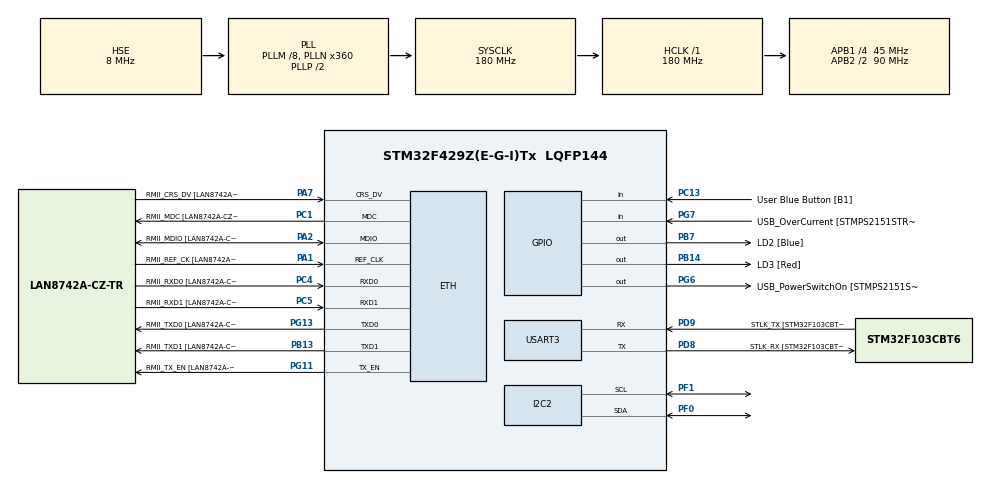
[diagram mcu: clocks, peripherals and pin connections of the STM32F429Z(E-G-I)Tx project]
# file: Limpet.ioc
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ETH.MediaInterface=ETH_MEDIA_INTERFACE_RMII
ETH.PhyAddress=0
FREERTOS.HEAP_NUMBER=3
FREERTOS.Tasks01=defaultTask,0,16384,StartDefaultTask,Default
FREERTOS.configTOTAL_HEAP_SIZE=4096
I2C2.I2C_Mode=I2C_Fast
LWIP.DEFAULT_ACCEPTMBOX_SIZE=8
LWIP.DEFAULT_RAW_RECVMBOX_SIZE=8
LWIP.DEFAULT_TCP_RECVMBOX_SIZE=8
LWIP.DEFAULT_THREAD_STACKSIZE=512
LWIP.DEFAULT_UDP_RECVMBOX_SIZE=8
LWIP.LWIP_COMPAT_SOCKETS=0
LWIP.LWIP_DNS=1
LWIP.LWIP_IGMP=1
LWIP.LWIP_POSIX_SOCKETS_IO_NAMES=0
LWIP.LWIP_RAW=0
LWIP.LWIP_SO_RCVTIMEO=1
LWIP.LWIP_TCP_KEEPALIVE=1
LWIP.MEMP_NUM_PBUF=8
LWIP.MEMP_NUM_SYS_TIMEOUT=16
LWIP.MEMP_NUM_TCP_PCB_LISTEN=4
LWIP.PBUF_POOL_SIZE=5
LWIP.SYS_LIGHTWEIGHT_PROT=1
LWIP.TCPIP_MBOX_SIZE=8
LWIP.TCP_OVERSIZE=0
LWIP.TCP_QUEUE_OOSEQ=0
Mcu.Family=STM32F4
Mcu.Name=STM32F429Z(E-G-I)Tx
Mcu.Package=LQFP144
NVIC.ETH_IRQn=true\:5\:0\:false
NVIC.PriorityGroup=NVIC_PRIORITYGROUP_4
NVIC.TIM1_UP_TIM10_IRQn=true\:0\:0\:false
NVIC.TimeBase=TIM1_UP_TIM10_IRQn
NVIC.TimeBaseIP=TIM1
PA1.GPIO_Label=RMII_REF_CK [LAN8742A-CZ-TR_REFCLK0]
PA1.Mode=RMII
PA1.Signal=ETH_REF_CLK
PA10.GPIO_Label=USB_ID
PA10.Signal=USB_OTG_FS_ID
PA11.GPIO_Label=USB_DM
PA11.Signal=USB_OTG_FS_DM
PA12.GPIO_Label=USB_DP
PA12.Signal=USB_OTG_FS_DP
PA13.GPIO_Label=TMS
PA13.Mode=Serial-Wire
PA13.Signal=SYS_JTMS-SWDIO
PA14.GPIO_Label=TCK
PA14.Mode=Serial-Wire
PA14.Signal=SYS_JTCK-SWCLK
PA2.GPIO_Label=RMII_MDIO [LAN8742A-CZ-TR_MDIO]
PA2.Mode=RMII
PA2.Signal=ETH_MDIO
PA7.GPIO_Label=RMII_CRS_DV [LAN8742A-CZ-TR_CRS_DV]
PA7.Mode=RMII
PA7.Signal=ETH_CRS_DV
PA8.GPIO_Label=USB_SOF [TP1]
PA8.Signal=USB_OTG_FS_SOF
PA9.GPIO_Label=USB_VBUS
PA9.Signal=USB_OTG_FS_VBUS
PB13.GPIO_Label=RMII_TXD1 [LAN8742A-CZ-TR_TXD1]
PB13.Mode=RMII
PB13.Signal=ETH_TXD1
PB14.GPIO_Label=LD3 [Red]
PB14.Signal=GPIO_Output
PB7.GPIO_Label=LD2 [Blue]
PB7.Signal=GPIO_Output
PC1.GPIO_Label=RMII_MDC [LAN8742A-CZ-TR_MDC]
PC1.Mode=RMII
PC1.Signal=ETH_MDC
PC13.GPIO_Label=User Blue Button [B1]
PC13.Signal=GPIO_Input
PC14/OSC32_IN.Mode=LSE-External-Oscillator
PC14/OSC32_IN.Signal=RCC_OSC32_IN
PC15/OSC32_OUT.Mode=LSE-External-Oscillator
PC15/OSC32_OUT.Signal=RCC_OSC32_OUT
PC4.GPIO_Label=RMII_RXD0 [LAN8742A-CZ-TR_RXD0]
PC4.Mode=RMII
PC4.Signal=ETH_RXD0
PC5.GPIO_Label=RMII_RXD1 [LAN8742A-CZ-TR_RXD1]
PC5.Mode=RMII
PC5.Signal=ETH_RXD1
PD8.GPIO_Label=STLK_RX [STM32F103CBT6_PA3]
PD8.Mode=Asynchronous
PD8.Signal=USART3_TX
PD9.GPIO_Label=STLK_TX [STM32F103CBT6_PA2]
PD9.Mode=Asynchronous
PD9.Signal=USART3_RX
PF0.Mode=I2C
PF0.Signal=I2C2_SDA
PF1.Mode=I2C
PF1.Signal=I2C2_SCL
PG11.GPIO_Label=RMII_TX_EN [LAN8742A-CZ-TR_TXEN]
PG11.Mode=RMII
PG11.Signal=ETH_TX_EN
PG13.GPIO_Label=RMII_TXD0 [LAN8742A-CZ-TR_TXD0]
PG13.Mode=RMII
PG13.Signal=ETH_TXD0
PG6.GPIO_Label=USB_PowerSwitchOn [STMPS2151STR_EN]
PG6.Signal=GPIO_Output
PG7.GPIO_Label=USB_OverCurrent [STMPS2151STR_FAULT]
PG7.Signal=GPIO_Input
PH0/OSC_IN.GPIO_Label=MCO [STM32F103CBT6_PA8]
PH0/OSC_IN.Mode=HSE-External-Clock-Source
PH0/OSC_IN.Signal=RCC_OSC_IN
PH1/OSC_OUT.Mode=HSE-External-Clock-Source
PH1/OSC_OUT.Signal=RCC_OSC_OUT
ProjectManager.HeapSize=0x28000
ProjectManager.StackSize=0x200
ProjectManager.TargetToolchain=TrueSTUDIO
RCC.48MHZClocksFreq_Value=45000000
RCC.AHBFreq_Value=180000000
RCC.APB1CLKDivider=RCC_HCLK_DIV4
RCC.APB1Freq_Value=45000000
RCC.APB1TimFreq_Value=90000000
RCC.APB2CLKDivider=RCC_HCLK_DIV2
RCC.APB2Freq_Value=90000000
RCC.APB2TimFreq_Value=180000000
RCC.CortexFreq_Value=180000000
RCC.HCLKFreq_Value=180000000
RCC.HSE_VALUE=8000000
RCC.HSI_VALUE=8000000
RCC.PLLM=8
RCC.PLLMUL=RCC_PLL_MUL9
RCC.PLLN=360
RCC.PLLQ=8
RCC.PLLSourceVirtual=RCC_PLLSOURCE_HSE
RCC.PRESCALERUSB=RCC_USBPLLCLK_DIV1_5
RCC.RCC_RTC_Clock_Source=RCC_RTCCLKSOURCE_LSE
RCC.RCC_RTC_Clock_SourceVirtual=RCC_RTCCLKSOURCE_LSE
RCC.SYSCLKFreq_VALUE=180000000
RCC.SYSCLKSource=RCC_SYSCLKSOURCE_PLLCLK
RCC.SYSCLKSourceVirtual=RCC_SYSCLKSOURCE_PLLCLK
RCC.USBFreq_Value=48000000
RCC.VCOOutputFreq_Value=360000000
RTC.Format=FORMAT_BIN
VP_FREERTOS_VS_ENABLE.Mode=Enabled
VP_LWIP_VS_Enabled.Mode=Enabled
VP_RNG_VS_RNG.Mode=RNG_Activate
VP_RTC_VS_RTC_Alarm_A_Intern.Mode=Alarm A
VP_SYS_VS_tim1.Mode=TIM1
board=NUCLEO-F429ZI

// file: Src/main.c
/**
  ******************************************************************************
  * File Name          : main.c
  * Description        : Main program body
  ******************************************************************************
  *
  * COPYRIGHT(c) 2016 STMicroelectronics
  *
  * Redistribution and use in source and binary forms, with or without modification,
  * are permitted provided that the following conditions are met:
  *   1. Redistributions of source code must retain the above copyright notice,
  *      this list of conditions and the following disclaimer.
  *   2. Redistributions in binary form must reproduce the above copyright notice,
  *      this list of conditions and the following disclaimer in the documentation
  *      and/or other materials provided with the distribution.
  *   3. Neither the name of STMicroelectronics nor the names of its contributors
  *      may be used to endorse or promote products derived from this software
  *      without specific prior written permission.
  *
  * THIS SOFTWARE IS PROVIDED BY THE COPYRIGHT HOLDERS AND CONTRIBUTORS "AS IS"
  * AND ANY EXPRESS OR IMPLIED WARRANTIES, INCLUDING, BUT NOT LIMITED TO, THE
  * IMPLIED WARRANTIES OF MERCHANTABILITY AND FITNESS FOR A PARTICULAR PURPOSE ARE
  * DISCLAIMED. IN NO EVENT SHALL THE COPYRIGHT HOLDER OR CONTRIBUTORS BE LIABLE
  * FOR ANY DIRECT, INDIRECT, INCIDENTAL, SPECIAL, EXEMPLARY, OR CONSEQUENTIAL
  * DAMAGES (INCLUDING, BUT NOT LIMITED TO, PROCUREMENT OF SUBSTITUTE GOODS OR
  * SERVICES; LOSS OF USE, DATA, OR PROFITS; OR BUSINESS INTERRUPTION) HOWEVER
  * CAUSED AND ON ANY THEORY OF LIABILITY, WHETHER IN CONTRACT, STRICT LIABILITY,
  * OR TORT (INCLUDING NEGLIGENCE OR OTHERWISE) ARISING IN ANY WAY OUT OF THE USE
  * OF THIS SOFTWARE, EVEN IF ADVISED OF THE POSSIBILITY OF SUCH DAMAGE.
  *
  ******************************************************************************
  */
#include "stm32f4xx_hal.h"
#include "cmsis_os.h"
#include "lwip.h"

/* USER CODE BEGIN Includes */
#include "TisTpmDrv.h"
#include <sys/time.h>
#include <time.h>
#include "iothub_client_sample_http.h"
/* USER CODE END Includes */

I2C_HandleTypeDef hi2c2;

RNG_HandleTypeDef hrng;

RTC_HandleTypeDef hrtc;

UART_HandleTypeDef huart3;

osThreadId defaultTaskHandle;

/* USER CODE BEGIN PV */
/* Private variables ---------------------------------------------------------*/
extern struct netif *netif_default;
extern uint32_t g_UsingLocality;
//char tzName[] = "PST";
//char dstName[] = "PDT";
char tzName[] = "CST";
char dstName[] = "CST";

/* USER CODE END PV */

void SystemClock_Config(void);
static void MX_GPIO_Init(void);
static void MX_I2C2_Init(void);
static void MX_RNG_Init(void);
static void MX_USART3_UART_Init(void);
static void MX_RTC_Init(void);
void StartDefaultTask(void const * argument);

/* USER CODE BEGIN PFP */
/* Private function prototypes -----------------------------------------------*/
int _settimeofday(struct timeval *tv, struct timezone *tz);

/* USER CODE END PFP */

/* USER CODE BEGIN 0 */
void printIP()
{
    printf("IF[%c%c]: %u.%u.%u.%u/%u.%u.%u.%u, GW:%u.%u.%u.%u\r\n",
            netif_default->name[0],
            netif_default->name[1],
            (uint8_t)(netif_default->ip_addr.addr & 0x000000FF),
            (uint8_t)((netif_default->ip_addr.addr & 0x0000FF00) >> 8),
            (uint8_t)((netif_default->ip_addr.addr & 0x00FF0000) >> 16),
            (uint8_t)((netif_default->ip_addr.addr & 0xFF000000) >> 24),
            (uint8_t)(netif_default->netmask.addr & 0x000000FF),
            (uint8_t)((netif_default->netmask.addr & 0x0000FF00) >> 8),
            (uint8_t)((netif_default->netmask.addr & 0x00FF0000) >> 16),
            (uint8_t)((netif_default->netmask.addr & 0xFF000000) >> 24),
            (uint8_t)(netif_default->gw.addr & 0x000000FF),
            (uint8_t)((netif_default->gw.addr & 0x0000FF00) >> 8),
            (uint8_t)((netif_default->gw.addr & 0x00FF0000) >> 16),
            (uint8_t)((netif_default->gw.addr & 0xFF000000) >> 24));
}

void set_time(time_t t)
{
    struct timeval tv = {(long)t, 0};
    _settimeofday(&tv, NULL);
}

time_t* ApplyTimeZoneAndDst(time_t* t)
{
    *t = *t + _timezone + (_daylight * 60 * 60);
    return t;

}

/* USER CODE END 0 */

int main(void)
{

  /* MCU Configuration----------------------------------------------------------*/

  /* Reset of all peripherals, Initializes the Flash interface and the Systick. */
  HAL_Init();

  /* Configure the system clock */
  SystemClock_Config();

  /* Initialize all configured peripherals */
  MX_GPIO_Init();
  MX_I2C2_Init();
  MX_RNG_Init();
  MX_USART3_UART_Init();
  MX_RTC_Init();

  /* USER CODE BEGIN 2 */
  printf("LimpetMCU V0.1!\r\n");
#ifdef I2CTPM
#ifdef SPECIFIC_CYCLE_DELAY
  TpmAdjustSpinWait(SPECIFIC_CYCLE_DELAY);
#else
  printf("SPECIFIC_CYCLE_DELAY = %d\r\n", TpmAdjustSpinWait(DETECT_CYCLE_DELAY));
#endif
#endif

  // Make sure we have a TPM, not having one is fatal
  uint32_t retVal = 0;
  if(((retVal = DetectTpm()) != HAL_OK) ||
     (RequestLocality(TIS_LOCALITY_0) != HAL_OK))
  {
      printf("No TPM detected.\r\n");
      for(;;);
  }
  g_UsingLocality = (uint32_t)TIS_LOCALITY_0;
  if((retVal = TpmSelfTest()) != TPM_RC_SUCCESS)
  {
      printf("TpmSelfTest() failed.\r\n");
      for(;;);
  }
  printf("TPM ready.\r\n");

  if(HAL_GPIO_ReadPin(User_Blue_Button_GPIO_Port, User_Blue_Button_Pin) == GPIO_PIN_SET)
  {
      // HostName=SolarSystem.azure-devices.net;DeviceId=Limpet;SharedAccessKey=b49ia/Vx4JA/s4NHMluV5Is7YEp+EKlfCUHPp4zgau8=
      const uint8_t uri[] = "HostName=SolarSystem.azure-devices.net;DeviceId=Limpet";
      const uint8_t hmacKeyEnc[] = "b49ia/Vx4JA/s4NHMluV5Is7YEp+EKlfCUHPp4zgau8=";
      uint8_t hmacKey[sizeof(hmacKeyEnc)] = {0};
      uint32_t hmacKeySize = sizeof(hmacKeyEnc);

      printf("TPM re-provisioning requested...\r\n");

      if((retVal = TpmClearControl(0x00)) != TPM_RC_SUCCESS)
      {
          printf("TpmClearControl() failed with %03x.\r\n", retVal);
          for(;;);
      }
      if((retVal = TpmClear()) != TPM_RC_SUCCESS)
      {
          printf("TpmClear() failed with %03x.\r\n", retVal);
          for(;;);
      }
      if((retVal = LimpetCreateSrk()) != TPM_RC_SUCCESS)
      {
          printf("LimpetCreateSrk() failed with %03x.\r\n", retVal);
          for(;;);
      }
      printf("TPM cleared and SRK created.\r\n");
      if((retVal = LimpetStoreURI(0, uri, sizeof(uri))) != TPM_RC_SUCCESS)
      {
          printf("LimpetStoreURI() failed with %03x.\r\n", retVal);
          for(;;);
      }
      printf("HostName/DeviceId persisted in TPM.\r\n");
      if(Base64_Decode(hmacKeyEnc, sizeof(hmacKeyEnc), hmacKey, &hmacKeySize))
      {
          printf("Base64_Decode() of SharedAccessKey failed.\r\n");
          for(;;);
      }
      if((retVal = LimpetCreateHmacKey(0, hmacKey, hmacKeySize)) != TPM_RC_SUCCESS)
      {
          printf("LimpetCreateHmacKey() failed with %03x.\r\n", retVal);
          for(;;);
      }
      printf("SharedAccessKey imported and persisted in TPM.\r\n");
      printf("TPM re-provisioning complete, release the button...\r\n");

      while(HAL_GPIO_ReadPin(User_Blue_Button_GPIO_Port, User_Blue_Button_Pin) == GPIO_PIN_SET);
  }

  /* USER CODE END 2 */

  /* Create the thread(s) */
  /* definition and creation of defaultTask */
  osThreadDef(defaultTask, StartDefaultTask, osPriorityNormal, 0, 16384);
  defaultTaskHandle = osThreadCreate(osThread(defaultTask), NULL);

  /* Start scheduler */
  osKernelStart();

  /* We should never get here as control is now taken by the scheduler */

  /* Infinite loop */
  while (1)
  {

  }

}

/** System Clock Configuration
*/
void SystemClock_Config(void)
{

  RCC_OscInitTypeDef RCC_OscInitStruct;
  RCC_ClkInitTypeDef RCC_ClkInitStruct;
  RCC_PeriphCLKInitTypeDef PeriphClkInitStruct;

  __PWR_CLK_ENABLE();

  __HAL_PWR_VOLTAGESCALING_CONFIG(PWR_REGULATOR_VOLTAGE_SCALE1);

  RCC_OscInitStruct.OscillatorType = RCC_OSCILLATORTYPE_HSE|RCC_OSCILLATORTYPE_LSE;
  RCC_OscInitStruct.HSEState = RCC_HSE_BYPASS;
  RCC_OscInitStruct.LSEState = RCC_LSE_ON;
  RCC_OscInitStruct.PLL.PLLState = RCC_PLL_ON;
  RCC_OscInitStruct.PLL.PLLSource = RCC_PLLSOURCE_HSE;
  RCC_OscInitStruct.PLL.PLLM = 8;
  RCC_OscInitStruct.PLL.PLLN = 360;
  RCC_OscInitStruct.PLL.PLLP = RCC_PLLP_DIV2;
  RCC_OscInitStruct.PLL.PLLQ = 8;
  HAL_RCC_OscConfig(&RCC_OscInitStruct);

  HAL_PWREx_ActivateOverDrive();

  RCC_ClkInitStruct.ClockType = RCC_CLOCKTYPE_HCLK|RCC_CLOCKTYPE_SYSCLK
                              |RCC_CLOCKTYPE_PCLK1|RCC_CLOCKTYPE_PCLK2;
  RCC_ClkInitStruct.SYSCLKSource = RCC_SYSCLKSOURCE_PLLCLK;
  RCC_ClkInitStruct.AHBCLKDivider = RCC_SYSCLK_DIV1;
  RCC_ClkInitStruct.APB1CLKDivider = RCC_HCLK_DIV4;
  RCC_ClkInitStruct.APB2CLKDivider = RCC_HCLK_DIV2;
  HAL_RCC_ClockConfig(&RCC_ClkInitStruct, FLASH_LATENCY_5);

  PeriphClkInitStruct.PeriphClockSelection = RCC_PERIPHCLK_RTC;
  PeriphClkInitStruct.RTCClockSelection = RCC_RTCCLKSOURCE_LSE;
  HAL_RCCEx_PeriphCLKConfig(&PeriphClkInitStruct);

  HAL_SYSTICK_Config(HAL_RCC_GetHCLKFreq()/1000);

  HAL_SYSTICK_CLKSourceConfig(SYSTICK_CLKSOURCE_HCLK);

  /* SysTick_IRQn interrupt configuration */
  HAL_NVIC_SetPriority(SysTick_IRQn, 15, 0);
}

/* I2C2 init function */
void MX_I2C2_Init(void)
{

  hi2c2.Instance = I2C2;
  hi2c2.Init.ClockSpeed = 400000;
  hi2c2.Init.DutyCycle = I2C_DUTYCYCLE_2;
  hi2c2.Init.OwnAddress1 = 0;
  hi2c2.Init.AddressingMode = I2C_ADDRESSINGMODE_7BIT;
  hi2c2.Init.DualAddressMode = I2C_DUALADDRESS_DISABLED;
  hi2c2.Init.OwnAddress2 = 0;
  hi2c2.Init.GeneralCallMode = I2C_GENERALCALL_DISABLED;
  hi2c2.Init.NoStretchMode = I2C_NOSTRETCH_DISABLED;
  HAL_I2C_Init(&hi2c2);

}

/* RNG init function */
void MX_RNG_Init(void)
{

  hrng.Instance = RNG;
  HAL_RNG_Init(&hrng);

}

/* RTC init function */
void MX_RTC_Init(void)
{

  RTC_TimeTypeDef sTime;
  RTC_DateTypeDef sDate;
  RTC_AlarmTypeDef sAlarm;

    /**Initialize RTC and set the Time and Date
    */
  hrtc.Instance = RTC;
  hrtc.Init.HourFormat = RTC_HOURFORMAT_24;
  hrtc.Init.AsynchPrediv = 127;
  hrtc.Init.SynchPrediv = 255;
  hrtc.Init.OutPut = RTC_OUTPUT_DISABLE;
  hrtc.Init.OutPutPolarity = RTC_OUTPUT_POLARITY_HIGH;
  hrtc.Init.OutPutType = RTC_OUTPUT_TYPE_OPENDRAIN;
  HAL_RTC_Init(&hrtc);

  sTime.Hours = 0;
  sTime.Minutes = 0;
  sTime.Seconds = 0;
  sTime.DayLightSaving = RTC_DAYLIGHTSAVING_NONE;
  sTime.StoreOperation = RTC_STOREOPERATION_RESET;
  HAL_RTC_SetTime(&hrtc, &sTime, FORMAT_BIN);

  sDate.WeekDay = RTC_WEEKDAY_MONDAY;
  sDate.Month = RTC_MONTH_JANUARY;
  sDate.Date = 1;
  sDate.Year = 0;

  HAL_RTC_SetDate(&hrtc, &sDate, FORMAT_BIN);

    /**Enable the Alarm A
    */
  sAlarm.AlarmTime.Hours = 0;
  sAlarm.AlarmTime.Minutes = 0;
  sAlarm.AlarmTime.Seconds = 0;
  sAlarm.AlarmTime.SubSeconds = 0;
  sAlarm.AlarmTime.DayLightSaving = RTC_DAYLIGHTSAVING_NONE;
  sAlarm.AlarmTime.StoreOperation = RTC_STOREOPERATION_RESET;
  sAlarm.AlarmMask = RTC_ALARMMASK_NONE;
  sAlarm.AlarmSubSecondMask = RTC_ALARMSUBSECONDMASK_ALL;
  sAlarm.AlarmDateWeekDaySel = RTC_ALARMDATEWEEKDAYSEL_DATE;
  sAlarm.AlarmDateWeekDay = 1;
  sAlarm.Alarm = RTC_ALARM_A;
  HAL_RTC_SetAlarm(&hrtc, &sAlarm, FORMAT_BIN);

}

/* USART3 init function */
void MX_USART3_UART_Init(void)
{

  huart3.Instance = USART3;
  huart3.Init.BaudRate = 115200;
  huart3.Init.WordLength = UART_WORDLENGTH_8B;
  huart3.Init.StopBits = UART_STOPBITS_1;
  huart3.Init.Parity = UART_PARITY_NONE;
  huart3.Init.Mode = UART_MODE_TX_RX;
  huart3.Init.HwFlowCtl = UART_HWCONTROL_NONE;
  huart3.Init.OverSampling = UART_OVERSAMPLING_16;
  HAL_UART_Init(&huart3);

}

/** Configure pins as
        * Analog
        * Input
        * Output
        * EVENT_OUT
        * EXTI
     PA8   ------> USB_OTG_FS_SOF
     PA9   ------> USB_OTG_FS_VBUS
     PA10   ------> USB_OTG_FS_ID
     PA11   ------> USB_OTG_FS_DM
     PA12   ------> USB_OTG_FS_DP
*/
void MX_GPIO_Init(void)
{

  GPIO_InitTypeDef GPIO_InitStruct;

  /* GPIO Ports Clock Enable */
  __GPIOC_CLK_ENABLE();
  __GPIOF_CLK_ENABLE();
  __GPIOH_CLK_ENABLE();
  __GPIOA_CLK_ENABLE();
  __GPIOB_CLK_ENABLE();
  __GPIOD_CLK_ENABLE();
  __GPIOG_CLK_ENABLE();

  /*Configure GPIO pin : User_Blue_Button_Pin */
  GPIO_InitStruct.Pin = User_Blue_Button_Pin;
  GPIO_InitStruct.Mode = GPIO_MODE_INPUT;
  GPIO_InitStruct.Pull = GPIO_NOPULL;
  HAL_GPIO_Init(User_Blue_Button_GPIO_Port, &GPIO_InitStruct);

  /*Configure GPIO pins : LD3_Pin LD2_Pin */
  GPIO_InitStruct.Pin = LD3_Pin|LD2_Pin;
  GPIO_InitStruct.Mode = GPIO_MODE_OUTPUT_PP;
  GPIO_InitStruct.Pull = GPIO_NOPULL;
  GPIO_InitStruct.Speed = GPIO_SPEED_LOW;
  HAL_GPIO_Init(GPIOB, &GPIO_InitStruct);

  /*Configure GPIO pin : USB_PowerSwitchOn_Pin */
  GPIO_InitStruct.Pin = USB_PowerSwitchOn_Pin;
  GPIO_InitStruct.Mode = GPIO_MODE_OUTPUT_PP;
  GPIO_InitStruct.Pull = GPIO_NOPULL;
  GPIO_InitStruct.Speed = GPIO_SPEED_LOW;
  HAL_GPIO_Init(USB_PowerSwitchOn_GPIO_Port, &GPIO_InitStruct);

  /*Configure GPIO pin : USB_OverCurrent_Pin */
  GPIO_InitStruct.Pin = USB_OverCurrent_Pin;
  GPIO_InitStruct.Mode = GPIO_MODE_INPUT;
  GPIO_InitStruct.Pull = GPIO_NOPULL;
  HAL_GPIO_Init(USB_OverCurrent_GPIO_Port, &GPIO_InitStruct);

  /*Configure GPIO pins : USB_SOF_Pin USB_ID_Pin USB_DM_Pin USB_DP_Pin */
  GPIO_InitStruct.Pin = USB_SOF_Pin|USB_ID_Pin|USB_DM_Pin|USB_DP_Pin;
  GPIO_InitStruct.Mode = GPIO_MODE_AF_PP;
  GPIO_InitStruct.Pull = GPIO_NOPULL;
  GPIO_InitStruct.Speed = GPIO_SPEED_HIGH;
  GPIO_InitStruct.Alternate = GPIO_AF10_OTG_FS;
  HAL_GPIO_Init(GPIOA, &GPIO_InitStruct);

  /*Configure GPIO pin : USB_VBUS_Pin */
  GPIO_InitStruct.Pin = USB_VBUS_Pin;
  GPIO_InitStruct.Mode = GPIO_MODE_INPUT;
  GPIO_InitStruct.Pull = GPIO_NOPULL;
  HAL_GPIO_Init(USB_VBUS_GPIO_Port, &GPIO_InitStruct);

  /*Configure GPIO pin Output Level */
  HAL_GPIO_WritePin(GPIOB, LD3_Pin|LD2_Pin, GPIO_PIN_RESET);

  /*Configure GPIO pin Output Level */
  HAL_GPIO_WritePin(USB_PowerSwitchOn_GPIO_Port, USB_PowerSwitchOn_Pin, GPIO_PIN_RESET);

}

/* StartDefaultTask function */
void StartDefaultTask(void const * argument)
{
  /* init code for LWIP */
  MX_LWIP_Init();

  /* USER CODE BEGIN 5 */
  // Wait for the DHCP to provide us with an IP
  while(netif_default->ip_addr.addr == 0)
  {
      osDelay(10);
  }
  printIP();

  // Set the RTC to UTC
//  _timezone = (-8) * 60 * 60; //PST
//  _daylight = 1;              //DST on -> PDT
  _timezone = (+8) * 60 * 60; //CST
  _daylight = 0;              //CST has no DST
  _tzname[0] = tzName;
  _tzname[1] = dstName;
  time_t ntpTime = {0};
  if(NtpGetTime("0.pool.ntp.org", 4000, &ntpTime) == HAL_OK)
  {
      time_t now = time(NULL);
      set_time(ntpTime);
      // The RTC needs some time to reflect the new time
      do
      {
          if((now = time(NULL)) < ntpTime)
          {
              osDelay(250);
          }
          else
          {
              char* timeStr = asctime(localtime(ApplyTimeZoneAndDst(&now)));
              timeStr[strlen(timeStr) - 1] = 0; // Remove \n at the end of the string
              printf("TIME: %s %s\r\n", timeStr, _tzname[_daylight]);
              break;
          }
      }
      while(now < ntpTime);
  }

  // Kick off the Azure ioT Hub demo
  iothub_client_sample_http_run();

  /* Infinite loop */
  for(;;)
  {
    osDelay(100);
  }
  /* USER CODE END 5 */
}

/************************ (C) COPYRIGHT STMicroelectronics *****END OF FILE****/
